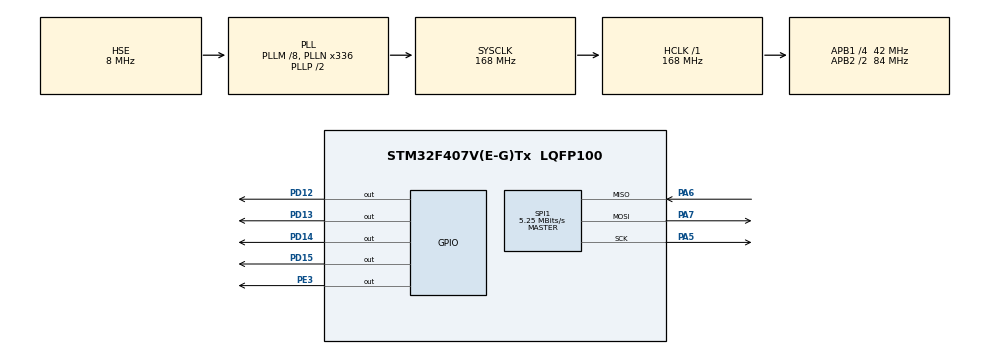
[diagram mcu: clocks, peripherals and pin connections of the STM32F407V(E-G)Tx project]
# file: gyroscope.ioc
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Mcu.Family=STM32F4
Mcu.Name=STM32F407V(E-G)Tx
Mcu.Package=LQFP100
NVIC.PriorityGroup=NVIC_PRIORITYGROUP_0
PA5.Mode=Full_Duplex_Master
PA5.Signal=SPI1_SCK
PA6.Mode=Full_Duplex_Master
PA6.Signal=SPI1_MISO
PA7.Mode=Full_Duplex_Master
PA7.Signal=SPI1_MOSI
PD12.Signal=GPIO_Output
PD13.Signal=GPIO_Output
PD14.Signal=GPIO_Output
PD15.Signal=GPIO_Output
PE3.Signal=GPIO_Output
PH0-OSC_IN.Mode=HSE-External-Oscillator
PH0-OSC_IN.Signal=RCC_OSC_IN
PH1-OSC_OUT.Mode=HSE-External-Oscillator
PH1-OSC_OUT.Signal=RCC_OSC_OUT
ProjectManager.HeapSize=0x200
ProjectManager.StackSize=0x400
ProjectManager.TargetToolchain=STM32CubeIDE
RCC.48MHZClocksFreq_Value=48000000
RCC.AHBFreq_Value=168000000
RCC.APB1CLKDivider=RCC_HCLK_DIV4
RCC.APB1Freq_Value=42000000
RCC.APB1TimFreq_Value=84000000
RCC.APB2CLKDivider=RCC_HCLK_DIV2
RCC.APB2Freq_Value=84000000
RCC.APB2TimFreq_Value=168000000
RCC.CortexFreq_Value=168000000
RCC.HCLKFreq_Value=168000000
RCC.HSE_VALUE=8000000
RCC.HSI_VALUE=16000000
RCC.PLLM=8
RCC.PLLN=336
RCC.PLLQ=7
RCC.PLLSourceVirtual=RCC_PLLSOURCE_HSE
RCC.SYSCLKFreq_VALUE=168000000
RCC.SYSCLKSource=RCC_SYSCLKSOURCE_PLLCLK
RCC.VCOOutputFreq_Value=336000000
SPI1.BaudRatePrescaler=SPI_BAUDRATEPRESCALER_16
SPI1.CalculateBaudRate=5.25 MBits/s
SPI1.Direction=SPI_DIRECTION_2LINES
SPI1.Mode=SPI_MODE_MASTER
SPI1.VirtualType=VM_MASTER
board=STM32F407G-DISC1

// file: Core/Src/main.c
/* USER CODE BEGIN Header */
/**
  ******************************************************************************
  * @file           : main.c
  * @brief          : Main program body
  ******************************************************************************
  * @attention
  *
  * Copyright (c) 2024 STMicroelectronics.
  * All rights reserved.
  *
  * This software is licensed under terms that can be found in the LICENSE file
  * in the root directory of this software component.
  * If no LICENSE file comes with this software, it is provided AS-IS.
  *
  ******************************************************************************
  */
/* USER CODE END Header */
#include "main.h"
#include "stm32f4xx_hal.h"

/* USER CODE BEGIN PTD */
int16_t x=0;
int16_t y=0;
/* USER CODE END PTD */

/* USER CODE BEGIN PD */
#define L3GD20_WHO_AM_I_ADDR         0x0F
#define L3GD20_CTRL_REG1_ADDR        0x20
#define L3GD20_CTRL_REG4_ADDR        0x23
#define L3GD20_OUT_X_L_ADDR          0x28
#define L3GD20_OUT_X_H_ADDR          0x29
#define L3GD20_OUT_Y_L_ADDR          0x2A
#define L3GD20_OUT_Y_H_ADDR          0x2B
#define L3GD20_OUT_Z_L_ADDR          0x2C
#define L3GD20_OUT_Z_H_ADDR          0x2D

#define L3GD20_CS_GPIO_PORT          GPIOE
#define L3GD20_CS_PIN                GPIO_PIN_3
/* USER CODE END PD */

SPI_HandleTypeDef hspi1;

/* USER CODE BEGIN PV */
uint8_t L3GD20_ReadReg(uint8_t reg) {
    uint8_t data;
    uint8_t tx_reg = reg | 0x80;  // Read operation
    HAL_GPIO_WritePin(L3GD20_CS_GPIO_PORT, L3GD20_CS_PIN, GPIO_PIN_RESET);
    HAL_SPI_Transmit(&hspi1, &tx_reg, 1, HAL_MAX_DELAY);
    HAL_SPI_Receive(&hspi1, &data, 1, HAL_MAX_DELAY);
    HAL_GPIO_WritePin(L3GD20_CS_GPIO_PORT, L3GD20_CS_PIN, GPIO_PIN_SET);
    return data;
}
void L3GD20_WriteReg(uint8_t reg, uint8_t data) {
    uint8_t tx_data[2] = {reg, data};
    HAL_GPIO_WritePin(L3GD20_CS_GPIO_PORT, L3GD20_CS_PIN, GPIO_PIN_RESET);
    HAL_SPI_Transmit(&hspi1, tx_data, 2, HAL_MAX_DELAY);
    HAL_GPIO_WritePin(L3GD20_CS_GPIO_PORT, L3GD20_CS_PIN, GPIO_PIN_SET);
}

void L3GD20_Init(void) {
    L3GD20_WriteReg(L3GD20_CTRL_REG1_ADDR, 0x0F);  // Enable X, Y, Z and set data rate to 95 Hz
    L3GD20_WriteReg(L3GD20_CTRL_REG4_ADDR, 0x00);  // Set scale to 250 dps
}

int16_t L3GD20_ReadAxis(uint8_t regL, uint8_t regH) {
    int16_t axis_value = (int16_t)((L3GD20_ReadReg(regH) << 8) | L3GD20_ReadReg(regL));
    return axis_value;
}

/* USER CODE END PV */

void SystemClock_Config(void);
static void MX_GPIO_Init(void);
static void MX_SPI1_Init(void);

int main(void)
{

  /* MCU Configuration--------------------------------------------------------*/

  /* Reset of all peripherals, Initializes the Flash interface and the Systick. */
  HAL_Init();

  /* Configure the system clock */
  SystemClock_Config();

  /* Initialize all configured peripherals */
  MX_GPIO_Init();
  MX_SPI1_Init();
  /* USER CODE BEGIN 2 */
  L3GD20_Init();
  /* USER CODE END 2 */

  /* Infinite loop */
  while (1)
  {
	   x = L3GD20_ReadAxis(L3GD20_OUT_X_L_ADDR, L3GD20_OUT_X_H_ADDR);
	          y = L3GD20_ReadAxis(L3GD20_OUT_Y_L_ADDR, L3GD20_OUT_Y_H_ADDR);

	         HAL_GPIO_WritePin(GPIOD, GPIO_PIN_12, x > 10000 ? GPIO_PIN_SET : GPIO_PIN_RESET); // Sağ
	         HAL_GPIO_WritePin(GPIOD, GPIO_PIN_13, x < -10000 ? GPIO_PIN_SET : GPIO_PIN_RESET); // Sol
	         HAL_GPIO_WritePin(GPIOD, GPIO_PIN_14, y > 10000 ? GPIO_PIN_SET : GPIO_PIN_RESET); // İleri
	         HAL_GPIO_WritePin(GPIOD, GPIO_PIN_15, y < -10000 ? GPIO_PIN_SET : GPIO_PIN_RESET); // Geri

	         HAL_Delay(100);
  }
}

void SystemClock_Config(void)
{
  RCC_OscInitTypeDef RCC_OscInitStruct = {0};
  RCC_ClkInitTypeDef RCC_ClkInitStruct = {0};

  /** Configure the main internal regulator output voltage
  */
  __HAL_RCC_PWR_CLK_ENABLE();
  __HAL_PWR_VOLTAGESCALING_CONFIG(PWR_REGULATOR_VOLTAGE_SCALE1);

  /** Initializes the RCC Oscillators according to the specified parameters
  * in the RCC_OscInitTypeDef structure.
  */
  RCC_OscInitStruct.OscillatorType = RCC_OSCILLATORTYPE_HSE;
  RCC_OscInitStruct.HSEState = RCC_HSE_ON;
  RCC_OscInitStruct.PLL.PLLState = RCC_PLL_ON;
  RCC_OscInitStruct.PLL.PLLSource = RCC_PLLSOURCE_HSE;
  RCC_OscInitStruct.PLL.PLLM = 8;
  RCC_OscInitStruct.PLL.PLLN = 336;
  RCC_OscInitStruct.PLL.PLLP = RCC_PLLP_DIV2;
  RCC_OscInitStruct.PLL.PLLQ = 7;
  if (HAL_RCC_OscConfig(&RCC_OscInitStruct) != HAL_OK)
  {
    Error_Handler();
  }

  /** Initializes the CPU, AHB and APB buses clocks
  */
  RCC_ClkInitStruct.ClockType = RCC_CLOCKTYPE_HCLK|RCC_CLOCKTYPE_SYSCLK
                              |RCC_CLOCKTYPE_PCLK1|RCC_CLOCKTYPE_PCLK2;
  RCC_ClkInitStruct.SYSCLKSource = RCC_SYSCLKSOURCE_PLLCLK;
  RCC_ClkInitStruct.AHBCLKDivider = RCC_SYSCLK_DIV1;
  RCC_ClkInitStruct.APB1CLKDivider = RCC_HCLK_DIV4;
  RCC_ClkInitStruct.APB2CLKDivider = RCC_HCLK_DIV2;

  if (HAL_RCC_ClockConfig(&RCC_ClkInitStruct, FLASH_LATENCY_5) != HAL_OK)
  {
    Error_Handler();
  }
}

static void MX_SPI1_Init(void)
{

  /* SPI1 parameter configuration*/
  hspi1.Instance = SPI1;
  hspi1.Init.Mode = SPI_MODE_MASTER;
  hspi1.Init.Direction = SPI_DIRECTION_2LINES;
  hspi1.Init.DataSize = SPI_DATASIZE_8BIT;
  hspi1.Init.CLKPolarity = SPI_POLARITY_LOW;
  hspi1.Init.CLKPhase = SPI_PHASE_1EDGE;
  hspi1.Init.NSS = SPI_NSS_SOFT;
  hspi1.Init.BaudRatePrescaler = SPI_BAUDRATEPRESCALER_16;
  hspi1.Init.FirstBit = SPI_FIRSTBIT_MSB;
  hspi1.Init.TIMode = SPI_TIMODE_DISABLE;
  hspi1.Init.CRCCalculation = SPI_CRCCALCULATION_DISABLE;
  hspi1.Init.CRCPolynomial = 10;
  if (HAL_SPI_Init(&hspi1) != HAL_OK)
  {
    Error_Handler();
  }

}

static void MX_GPIO_Init(void)
{
  GPIO_InitTypeDef GPIO_InitStruct = {0};

  /* GPIO Ports Clock Enable */
  __HAL_RCC_GPIOE_CLK_ENABLE();
  __HAL_RCC_GPIOH_CLK_ENABLE();
  __HAL_RCC_GPIOA_CLK_ENABLE();
  __HAL_RCC_GPIOD_CLK_ENABLE();

  /*Configure GPIO pin Output Level */
  HAL_GPIO_WritePin(GPIOE, GPIO_PIN_3, GPIO_PIN_RESET);

  /*Configure GPIO pin Output Level */
  HAL_GPIO_WritePin(GPIOD, GPIO_PIN_12|GPIO_PIN_13|GPIO_PIN_14|GPIO_PIN_15, GPIO_PIN_RESET);

  /*Configure GPIO pin : PE3 */
  GPIO_InitStruct.Pin = GPIO_PIN_3;
  GPIO_InitStruct.Mode = GPIO_MODE_OUTPUT_PP;
  GPIO_InitStruct.Pull = GPIO_NOPULL;
  GPIO_InitStruct.Speed = GPIO_SPEED_FREQ_LOW;
  HAL_GPIO_Init(GPIOE, &GPIO_InitStruct);

  /*Configure GPIO pins : PD12 PD13 PD14 PD15 */
  GPIO_InitStruct.Pin = GPIO_PIN_12|GPIO_PIN_13|GPIO_PIN_14|GPIO_PIN_15;
  GPIO_InitStruct.Mode = GPIO_MODE_OUTPUT_PP;
  GPIO_InitStruct.Pull = GPIO_NOPULL;
  GPIO_InitStruct.Speed = GPIO_SPEED_FREQ_LOW;
  HAL_GPIO_Init(GPIOD, &GPIO_InitStruct);

}

void Error_Handler(void)
{
  __disable_irq();
  while (1)
  {
  }
}
